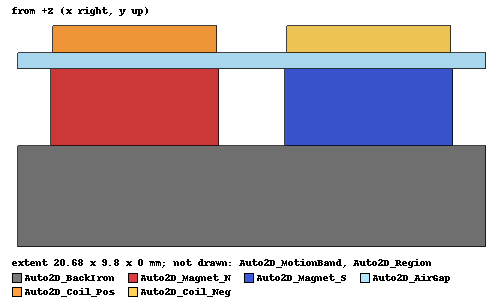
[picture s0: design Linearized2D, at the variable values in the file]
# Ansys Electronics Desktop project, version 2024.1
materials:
  vacuum: permittivity=1
  steel_1010: permittivity=1 permeability{HUnit=A_per_meter BUnit=tesla curve (0, 0) (238.7, 0.2003) (318.3, 0.3204) (358.1, 0.40045) (437.7, 0.50055) (477.5, 0.5606) (636.6, 0.7908) (795.8, 0.931) (1114.1, 1.1014) (1273.2, 1.2016) (1591.5, 1.302) (2228.2, 1.4028) (3183.1, 1.524) (4774.6, 1.626) (6366.2, 1.698) (7957.7, 1.73) (15915.5, 1.87) (31831, 1.99) (47746.5, 2.04) (63662, 2.07) (79577.5, 2.095) (159155, 2.2) (318310, 2.4)} conductivity=2000000 lande_g_factor=2
  Magnet, permanent, Neodymium N42SH: permeability{HUnit=A_per_meter BUnit=tesla curve (-985646, 0) (-982959, 0.00355879) (-938277, 0.0627226) (-893596, 0.121886) (-848915, 0.18105) (-804233, 0.240214) (-759552, 0.299378) (-714871, 0.358542) (-670189, 0.417705) (-625508, 0.476869) (-580827, 0.536033) (-536145, 0.595197) (-491464, 0.65436) (-446783, 0.713524) (-402101, 0.772688) (-357420, 0.831852) (-312739, 0.891016) (-268057, 0.950179) (-223376, 1.00934) (-178695, 1.06851) (-134013, 1.12767) (-89332.1, 1.18683) (-44650.8, 1.246) (0, 1.30512)} conductivity=646381 magnetic_coercivity{Magnitude=-1006500A_per_meter DirComp1=1 DirComp2=0 DirComp3=0}
  air: permittivity=1.0006 permeability=1.0000004
  copper: permeability=0.999991 conductivity=58000000
  FFB_N42SH_N: permittivity=1 permeability{HUnit=A_per_meter BUnit=tesla curve (-985646, 0) (-982959, 0.00355879) (-938277, 0.0627226) (-893596, 0.121886) (-848915, 0.18105) (-804233, 0.240214) (-759552, 0.299378) (-714871, 0.358542) (-670189, 0.417705) (-625508, 0.476869) (-580827, 0.536033) (-536145, 0.595197) (-491464, 0.65436) (-446783, 0.713524) (-402101, 0.772688) (-357420, 0.831852) (-312739, 0.891016) (-268057, 0.950179) (-223376, 1.00934) (-178695, 1.06851) (-134013, 1.12767) (-89332.1, 1.18683) (-44650.8, 1.246) (0, 1.30512)} conductivity=646381 magnetic_coercivity{Magnitude=-1006500A_per_meter DirComp1=0 DirComp2=1 DirComp3=0}
  FFB_N42SH_S: permittivity=1 permeability{HUnit=A_per_meter BUnit=tesla curve (-985646, 0) (-982959, 0.00355879) (-938277, 0.0627226) (-893596, 0.121886) (-848915, 0.18105) (-804233, 0.240214) (-759552, 0.299378) (-714871, 0.358542) (-670189, 0.417705) (-625508, 0.476869) (-580827, 0.536033) (-536145, 0.595197) (-491464, 0.65436) (-446783, 0.713524) (-402101, 0.772688) (-357420, 0.831852) (-312739, 0.891016) (-268057, 0.950179) (-223376, 1.00934) (-178695, 1.06851) (-134013, 1.12767) (-89332.1, 1.18683) (-44650.8, 1.246) (0, 1.30512)} conductivity=646381 magnetic_coercivity{Magnitude=-1006500A_per_meter DirComp1=0 DirComp2=-1 DirComp3=0}

design Linearized2D (Maxwell 2D, Transient, XY geometry, model units mm)
options: ModelDepth=1meter
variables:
  outer_diameter_mm = 98mm
  inner_diameter_mm = 60mm
  pole_count = 24
  phase_current_rms = 3
  speed_rpm = 250rpm
  magnet_thickness_mm = 3.4mm
  pole_arc_ratio = 0.72
  airgap_mm = 0.7mm
  backiron_thickness_mm = 4.5mm
  coil_radial_span_mm = 12.5mm
  coil_mean_radius_mm = 39.5mm
  turns_per_phase = 66
  conductor_width_mm = 2.6mm
  conductor_thickness_mm = 0.6mm
  parallel_strands = 2
  magnet_segments_per_pole = 1
  slice_radius_mm = 39.5mm
  outer_radius_mm = outer_diameter_mm/2
  inner_radius_mm = inner_diameter_mm/2
  mean_radius_mm = coil_mean_radius_mm
  mean_diameter_mm = (outer_diameter_mm + inner_diameter_mm)/2
  slice_diameter_mm = 2*slice_radius_mm
  pole_pairs = pole_count/2
  pole_pitch_mm = pi*slice_diameter_mm/pole_count
  coil_inner_radius_mm = coil_mean_radius_mm - coil_radial_span_mm/2
  coil_outer_radius_mm = coil_mean_radius_mm + coil_radial_span_mm/2
  period_length_mm = 2*pole_pitch_mm
  magnet_arc_mm = pole_pitch_mm*pole_arc_ratio
  mechanical_frequency_hz = speed_rpm/60
  electrical_frequency_hz = mechanical_frequency_hz*pole_pairs
  mechanical_period_s = 1/mechanical_frequency_hz
  electrical_period_s = 1/electrical_frequency_hz
  transient_stop_time_s = electrical_period_s
  transient_time_step_s = electrical_period_s/48
  auto2d_region_padding_mm = 4mm
  auto2d_motion_band_pad_mm = 0.2mm
  auto2d_coil_stack_height_mm = conductor_thickness_mm*parallel_strands
  auto2d_coil_sheet_width_mm = 0.7*pole_pitch_mm + 0.2*coil_radial_span_mm - 2.5mm
  auto2d_coil_center_shift_mm = 0.5*(coil_mean_radius_mm - (outer_diameter_mm + inner_diameter_mm)/4)
  auto2d_stack_height_mm = backiron_thickness_mm + magnet_thickness_mm + airgap_mm + auto2d_coil_stack_height_mm
  auto2d_period_start_x_mm = -period_length_mm/2
  auto2d_backiron_y0_mm = 0mm
  auto2d_magnet_y0_mm = backiron_thickness_mm
  auto2d_airgap_y0_mm = backiron_thickness_mm + magnet_thickness_mm
  auto2d_coil_y0_mm = backiron_thickness_mm + magnet_thickness_mm + airgap_mm
  auto2d_magnet_n_x0_mm = -period_length_mm/2 + (pole_pitch_mm - magnet_arc_mm)/2
  auto2d_magnet_s_x0_mm = (pole_pitch_mm - magnet_arc_mm)/2
  auto2d_coil_pos_x0_mm = -pole_pitch_mm/2 - auto2d_coil_sheet_width_mm/2 + auto2d_coil_center_shift_mm
  auto2d_coil_neg_x0_mm = pole_pitch_mm/2 - auto2d_coil_sheet_width_mm/2 + auto2d_coil_center_shift_mm
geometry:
  Auto2D_BackIron [steel_1010] = rectangle(corner=(auto2d_period_start_x_mm, auto2d_backiron_y0_mm, 0mm), x_size=period_length_mm, y_size=backiron_thickness_mm)
  Auto2D_Magnet_N [FFB_N42SH_N] = rectangle(corner=(auto2d_magnet_n_x0_mm, auto2d_magnet_y0_mm, 0mm), x_size=magnet_arc_mm, y_size=magnet_thickness_mm)
  Auto2D_Magnet_S [FFB_N42SH_S] = rectangle(corner=(auto2d_magnet_s_x0_mm, auto2d_magnet_y0_mm, 0mm), x_size=magnet_arc_mm, y_size=magnet_thickness_mm)
  Auto2D_MotionBand [air] = rectangle(corner=(auto2d_period_start_x_mm - auto2d_motion_band_pad_mm, auto2d_backiron_y0_mm - auto2d_motion_band_pad_mm, 0mm), x_size=period_length_mm + 2*auto2d_motion_band_pad_mm, y_size=backiron_thickness_mm + magnet_thickness_mm + 2*auto2d_motion_band_pad_mm)
  Auto2D_AirGap [air] = rectangle(corner=(auto2d_period_start_x_mm, auto2d_airgap_y0_mm, 0mm), x_size=period_length_mm, y_size=airgap_mm)
  Auto2D_Coil_Pos [copper] = rectangle(corner=(auto2d_coil_pos_x0_mm, auto2d_coil_y0_mm, 0mm), x_size=auto2d_coil_sheet_width_mm, y_size=auto2d_coil_stack_height_mm)
  Auto2D_Coil_Neg [copper] = rectangle(corner=(auto2d_coil_neg_x0_mm, auto2d_coil_y0_mm, 0mm), x_size=auto2d_coil_sheet_width_mm, y_size=auto2d_coil_stack_height_mm)
  Auto2D_Region [air] = region(+X=auto2d_region_padding_mm absolute offset, -X=auto2d_region_padding_mm absolute offset, +Y=auto2d_region_padding_mm absolute offset, -Y=auto2d_region_padding_mm absolute offset, +Z=0 percentage offset, -Z=0 percentage offset)
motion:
  MotionSetup1: Band Move_Type=Translate Coordinate_System=Global PostProcessing_Coordinate_System=Global Axis=X Is_Positive=true InitPos=0mm TranslatePeriodic Velocity=1.0341076m_per_sec Mass=1kg Damping=0 Load_Force=0newton Objects=Auto2D_MotionBand
  Moving1: Moving Objects=[Auto2D_BackIron, Auto2D_Magnet_N, Auto2D_Magnet_S]
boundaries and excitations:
  Periodic_X: Independent Edges=Auto2D_Region.edge(at (-14.5411, 4.8, 0))
  Periodic_X_dep: Dependent Edges=Auto2D_Region.edge(at (14.5411, 4.8, 0)) Independent=Periodic_X SameAsMaster=true
  PhaseA_Coil_Pos: Coil Objects=Auto2D_Coil_Pos Conductor_number=33 Winding=PhaseA_Winding PolarityType=Positive
  PhaseA_Coil_Neg: Coil Objects=Auto2D_Coil_Neg Conductor_number=33 Winding=PhaseA_Winding PolarityType=Negative
  Current_Coil_Pos: Current Objects=Auto2D_Coil_Pos Current=phase_current_rms*cos(2*pi*electrical_frequency_hz*time) IsSolid=true IsPositive=false
  Current_Coil_Neg: Current Objects=Auto2D_Coil_Neg Current=phase_current_rms*cos(2*pi*electrical_frequency_hz*time) IsSolid=true IsPositive=true
  PhaseA_Winding: Winding Group Type=Current IsSolid=false Current=phase_current_rms*cos(2*pi*electrical_frequency_hz*time) ParallelBranchesNum=1
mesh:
  AirGap_Length: LengthBased RefineInside Objects=Auto2D_AirGap MaxLength=airgap_mm/4
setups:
  Setup_2D: Transient NonlinearSolverResidual=0.0001 StopTime=electrical_period_s TimeStep=electrical_period_s/48 OutputPerObjectCoreLoss InitialTimeStep=0.002s MinTimeStep=0.001s MaxTimeStep=0.003s TimeStepErrTolerance=0.0001
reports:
  Torque_Loaded: Moving1.Force_mag vs Time on Setup_2D : Transient
  Torque_Cogging: Moving1.Force_mag vs Time on Setup_2D : Transient
  FluxLinkage_PhaseA: FluxLinkage(PhaseA_Winding) vs Time on Setup_2D : Transient
  BackEMF_LL: InducedVoltage(PhaseA_Winding) vs Time on Setup_2D : Transient
  Bmax_BackIron: VolumePercentageAbove10Percent vs Time on Setup_2D : Transient
